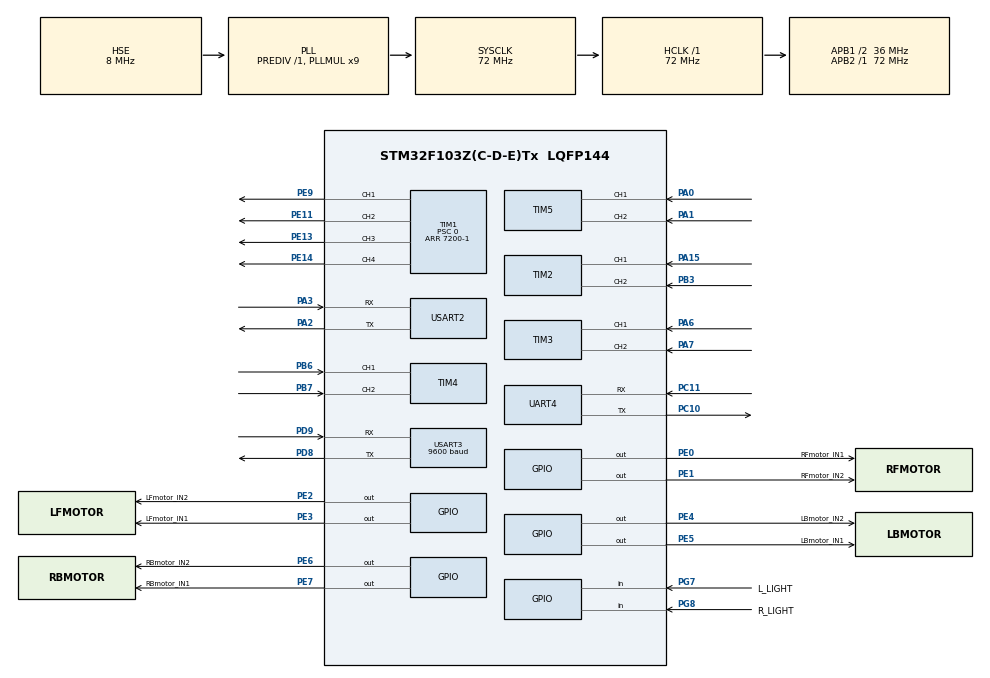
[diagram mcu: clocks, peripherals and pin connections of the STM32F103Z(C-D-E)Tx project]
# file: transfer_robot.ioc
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Mcu.Family=STM32F1
Mcu.Name=STM32F103Z(C-D-E)Tx
Mcu.Package=LQFP144
NVIC.PriorityGroup=NVIC_PRIORITYGROUP_4
NVIC.TIM2_IRQn=true\:1\:0\:true\:false\:true\:true\:true\:true
NVIC.TIM3_IRQn=true\:1\:0\:true\:false\:true\:true\:true\:true
NVIC.TIM4_IRQn=true\:1\:0\:true\:false\:true\:true\:true\:true
NVIC.TIM5_IRQn=true\:0\:0\:false\:false\:true\:true\:true\:true
NVIC.TIM6_IRQn=true\:0\:0\:true\:false\:true\:true\:true\:true
NVIC.UART4_IRQn=true\:0\:0\:false\:false\:true\:true\:true\:true
NVIC.USART2_IRQn=true\:0\:0\:false\:false\:true\:true\:true\:true
OSC_IN.Mode=HSE-External-Oscillator
OSC_IN.Signal=RCC_OSC_IN
OSC_OUT.Mode=HSE-External-Oscillator
OSC_OUT.Signal=RCC_OSC_OUT
PA0-WKUP.Signal=S_TIM5_CH1
PA1.Signal=S_TIM5_CH2
PA13.Mode=Serial_Wire
PA13.Signal=SYS_JTMS-SWDIO
PA14.Mode=Serial_Wire
PA14.Signal=SYS_JTCK-SWCLK
PA15.Signal=S_TIM2_CH1_ETR
PA2.Mode=Asynchronous
PA2.Signal=USART2_TX
PA3.Mode=Asynchronous
PA3.Signal=USART2_RX
PA6.Signal=S_TIM3_CH1
PA7.Signal=S_TIM3_CH2
PB3.Signal=S_TIM2_CH2
PB6.Signal=S_TIM4_CH1
PB7.Signal=S_TIM4_CH2
PC10.Mode=Asynchronous
PC10.Signal=UART4_TX
PC11.Mode=Asynchronous
PC11.Signal=UART4_RX
PC14-OSC32_IN.Mode=LSE-External-Oscillator
PC14-OSC32_IN.Signal=RCC_OSC32_IN
PC15-OSC32_OUT.Mode=LSE-External-Oscillator
PC15-OSC32_OUT.Signal=RCC_OSC32_OUT
PD8.Mode=Asynchronous
PD8.Signal=USART3_TX
PD9.Mode=Asynchronous
PD9.Signal=USART3_RX
PE0.GPIO_Label=RFmotor_IN1
PE0.Signal=GPIO_Output
PE1.GPIO_Label=RFmotor_IN2
PE1.Signal=GPIO_Output
PE11.Signal=S_TIM1_CH2
PE13.Signal=S_TIM1_CH3
PE14.Signal=S_TIM1_CH4
PE2.GPIO_Label=LFmotor_IN2
PE2.Signal=GPIO_Output
PE3.GPIO_Label=LFmotor_IN1
PE3.Signal=GPIO_Output
PE4.GPIO_Label=LBmotor_IN2
PE4.Signal=GPIO_Output
PE5.GPIO_Label=LBmotor_IN1
PE5.Signal=GPIO_Output
PE6.GPIO_Label=RBmotor_IN2
PE6.Signal=GPIO_Output
PE7.GPIO_Label=RBmotor_IN1
PE7.Signal=GPIO_Output
PE9.Signal=S_TIM1_CH1
PG7.GPIO_Label=L_LIGHT
PG7.Signal=GPIO_Input
PG8.GPIO_Label=R_LIGHT
PG8.Signal=GPIO_Input
ProjectManager.HeapSize=0x200
ProjectManager.StackSize=0x400
ProjectManager.TargetToolchain=MDK-ARM V5.32
RCC.AHBFreq_Value=72000000
RCC.APB1CLKDivider=RCC_HCLK_DIV2
RCC.APB1Freq_Value=36000000
RCC.APB1TimFreq_Value=72000000
RCC.APB2Freq_Value=72000000
RCC.APB2TimFreq_Value=72000000
RCC.HCLKFreq_Value=72000000
RCC.PLLMUL=RCC_PLL_MUL9
RCC.PLLSourceVirtual=RCC_PLLSOURCE_HSE
RCC.SYSCLKFreq_VALUE=72000000
RCC.SYSCLKSource=RCC_SYSCLKSOURCE_PLLCLK
RCC.USBFreq_Value=72000000
SH.S_TIM1_CH1.0=TIM1_CH1,PWM Generation1 CH1
SH.S_TIM1_CH2.0=TIM1_CH2,PWM Generation2 CH2
SH.S_TIM1_CH3.0=TIM1_CH3,PWM Generation3 CH3
SH.S_TIM1_CH4.0=TIM1_CH4,PWM Generation4 CH4
SH.S_TIM2_CH1_ETR.0=TIM2_CH1,Encoder_Interface
SH.S_TIM2_CH2.0=TIM2_CH2,Encoder_Interface
SH.S_TIM3_CH1.0=TIM3_CH1,Encoder_Interface
SH.S_TIM3_CH2.0=TIM3_CH2,Encoder_Interface
SH.S_TIM4_CH1.0=TIM4_CH1,Encoder_Interface
SH.S_TIM4_CH2.0=TIM4_CH2,Encoder_Interface
SH.S_TIM5_CH1.0=TIM5_CH1,Encoder_Interface
SH.S_TIM5_CH2.0=TIM5_CH2,Encoder_Interface
TIM1.AutoReloadPreload=TIM_AUTORELOAD_PRELOAD_ENABLE
TIM1.Channel-PWM\ Generation1\ CH1=TIM_CHANNEL_1
TIM1.Channel-PWM\ Generation2\ CH2=TIM_CHANNEL_2
TIM1.Channel-PWM\ Generation3\ CH3=TIM_CHANNEL_3
TIM1.Channel-PWM\ Generation4\ CH4=TIM_CHANNEL_4
TIM1.OCFastMode_PWM-PWM\ Generation1\ CH1=TIM_OCFAST_DISABLE
TIM1.OCFastMode_PWM-PWM\ Generation2\ CH2=TIM_OCFAST_DISABLE
TIM1.OCFastMode_PWM-PWM\ Generation3\ CH3=TIM_OCFAST_DISABLE
TIM1.OCFastMode_PWM-PWM\ Generation4\ CH4=TIM_OCFAST_DISABLE
TIM1.Period=7200-1
TIM1.Prescaler=0
TIM2.EncoderMode=TIM_ENCODERMODE_TI12
TIM6.AutoReloadPreload=TIM_AUTORELOAD_PRELOAD_ENABLE
TIM6.Period=100-1
TIM6.Prescaler=7200-1
UART4.VirtualMode=Asynchronous
USART2.VirtualMode=VM_ASYNC
USART3.BaudRate=9600
USART3.VirtualMode=VM_ASYNC
VP_RTC_VS_RTC_Activate.Mode=RTC_Enabled
VP_TIM1_VS_ClockSourceINT.Mode=Internal
VP_TIM6_VS_ClockSourceINT.Mode=Enable_Timer
board=custom

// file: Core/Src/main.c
/* USER CODE BEGIN Header */
/**
  ******************************************************************************
  * @file           : main.c
  * @brief          : Main program body
  ******************************************************************************
  * @attention
  *
  * Copyright (c) 2023 STMicroelectronics.
  * All rights reserved.
  *
  * This software is licensed under terms that can be found in the LICENSE file
  * in the root directory of this software component.
  * If no LICENSE file comes with this software, it is provided AS-IS.
  *
  ******************************************************************************
  */
/* USER CODE END Header */
#include "main.h"
#include "rtc.h"
#include "tim.h"
#include "usart.h"
#include "gpio.h"

/* USER CODE BEGIN Includes */
#include "motor.h"
#include "vofa.h"
#include "string.h"
#include "bsp_pid.h"
/* USER CODE END Includes */

/* USER CODE BEGIN PD */
float MotorSpeed1;  // 电机当前速度数值，从编码器中获取
float MotorSpeed2;  // 电机当前速度数值，从编码器中获取
float MotorSpeed3;  // 电机当前速度数值，从编码器中获取
float MotorSpeed4;  // 电机当前速度数值，从编码器中获取
int MotorOutput1;		  // 电机输出
int MotorOutput2;		  // 电机输出
int MotorOutput3;		  // 电机输出
int MotorOutput4;		  // 电机输出
/* USER CODE END PD */

void SystemClock_Config(void);
/* USER CODE BEGIN PFP */
extern _pid pid1,pid2,pid3,pid4,pidAs,pidBs,pid1,pid2;//pidx->速度PID量，pidxs->位置PID量
/* USER CODE END PFP */

int main(void)
{

  /* MCU Configuration--------------------------------------------------------*/

  /* Reset of all peripherals, Initializes the Flash interface and the Systick. */
  HAL_Init();

  /* Configure the system clock */
  SystemClock_Config();

  /* Initialize all configured peripherals */
  MX_GPIO_Init();
  MX_RTC_Init();
  MX_TIM1_Init();
  MX_TIM2_Init();
  MX_TIM3_Init();
  MX_TIM4_Init();
  MX_TIM5_Init();
  MX_UART4_Init();
  MX_USART3_UART_Init();
  MX_TIM6_Init();
  MX_USART2_UART_Init();

  /* Infinite loop */
  /* USER CODE BEGIN WHILE */
	HAL_TIM_PWM_Start(&htim1, TIM_CHANNEL_1);	    // TIM3_CH1(pwm)
	HAL_TIM_PWM_Start(&htim1, TIM_CHANNEL_2);	    // TIM3_CH2(pwm)
	HAL_TIM_PWM_Start(&htim1, TIM_CHANNEL_3);	    // TIM3_CH3(pwm)
	HAL_TIM_PWM_Start(&htim1, TIM_CHANNEL_4);	    // TIM3_CH4(pwm)

  HAL_TIM_Encoder_Start(&htim2, TIM_CHANNEL_1); // 开启编码器1A
  HAL_TIM_Encoder_Start(&htim2, TIM_CHANNEL_2); // 开启编码器1B

	HAL_TIM_Encoder_Start(&htim3, TIM_CHANNEL_1); // 开启编码器1A
  HAL_TIM_Encoder_Start(&htim3, TIM_CHANNEL_2); // 开启编码器1B

	HAL_TIM_Encoder_Start(&htim4, TIM_CHANNEL_1); // 开启编码器1A
  HAL_TIM_Encoder_Start(&htim4, TIM_CHANNEL_2); // 开启编码器1B

	HAL_TIM_Encoder_Start(&htim5, TIM_CHANNEL_1); // 开启编码器1A
  HAL_TIM_Encoder_Start(&htim5, TIM_CHANNEL_2); // 开启编码器1B

  HAL_TIM_Base_Start_IT(&htim6);                // 使能定时器2中断
	PID_param_init();
  while (1)
  {
		int a=0;
		int b=0;
		a=HAL_GPIO_ReadPin(GPIOG,GPIO_PIN_7);
		b=HAL_GPIO_ReadPin(GPIOG,GPIO_PIN_8);

		if(a==1 &&b ==0)
		{
			pid1.aim=4000;
			pid2.aim=-4000;
			pid3.aim=4000;
			pid4.aim=-4000;
		}
		else if(a==0&&b==1)
		{
			pid1.aim=-4000;
			pid2.aim=4000;
			pid3.aim=4000;
			pid4.aim=-4000;
		}
		else
		{
			pid1.aim=4000;
			pid2.aim=4000;
			pid3.aim=4000;
			pid4.aim=4000;
		}
		HAL_Delay(5);

    /* USER CODE END WHILE */

  }
}

void SystemClock_Config(void)
{
  RCC_OscInitTypeDef RCC_OscInitStruct = {0};
  RCC_ClkInitTypeDef RCC_ClkInitStruct = {0};
  RCC_PeriphCLKInitTypeDef PeriphClkInit = {0};

  /** Initializes the RCC Oscillators according to the specified parameters
  * in the RCC_OscInitTypeDef structure.
  */
  RCC_OscInitStruct.OscillatorType = RCC_OSCILLATORTYPE_LSI|RCC_OSCILLATORTYPE_HSE;
  RCC_OscInitStruct.HSEState = RCC_HSE_ON;
  RCC_OscInitStruct.HSEPredivValue = RCC_HSE_PREDIV_DIV1;
  RCC_OscInitStruct.HSIState = RCC_HSI_ON;
  RCC_OscInitStruct.LSIState = RCC_LSI_ON;
  RCC_OscInitStruct.PLL.PLLState = RCC_PLL_ON;
  RCC_OscInitStruct.PLL.PLLSource = RCC_PLLSOURCE_HSE;
  RCC_OscInitStruct.PLL.PLLMUL = RCC_PLL_MUL9;
  if (HAL_RCC_OscConfig(&RCC_OscInitStruct) != HAL_OK)
  {
    Error_Handler();
  }

  /** Initializes the CPU, AHB and APB buses clocks
  */
  RCC_ClkInitStruct.ClockType = RCC_CLOCKTYPE_HCLK|RCC_CLOCKTYPE_SYSCLK
                              |RCC_CLOCKTYPE_PCLK1|RCC_CLOCKTYPE_PCLK2;
  RCC_ClkInitStruct.SYSCLKSource = RCC_SYSCLKSOURCE_PLLCLK;
  RCC_ClkInitStruct.AHBCLKDivider = RCC_SYSCLK_DIV1;
  RCC_ClkInitStruct.APB1CLKDivider = RCC_HCLK_DIV2;
  RCC_ClkInitStruct.APB2CLKDivider = RCC_HCLK_DIV1;

  if (HAL_RCC_ClockConfig(&RCC_ClkInitStruct, FLASH_LATENCY_2) != HAL_OK)
  {
    Error_Handler();
  }
  PeriphClkInit.PeriphClockSelection = RCC_PERIPHCLK_RTC;
  PeriphClkInit.RTCClockSelection = RCC_RTCCLKSOURCE_LSI;
  if (HAL_RCCEx_PeriphCLKConfig(&PeriphClkInit) != HAL_OK)
  {
    Error_Handler();
  }
}

/* USER CODE BEGIN 4 */

int ctt=0;
void HAL_TIM_PeriodElapsedCallback(TIM_HandleTypeDef *htim)
{
    static unsigned char i = 0;
    if (htim == (&htim6))
    {
			ctt++;
        //1.获取电机速度
        pid1.now = (short)(__HAL_TIM_GET_COUNTER(&htim2)/18);
			  pid2.now = (short)(__HAL_TIM_GET_COUNTER(&htim3)/18);
				pid3.now = (short)(__HAL_TIM_GET_COUNTER(&htim4)/18);
			  pid4.now = (short)(__HAL_TIM_GET_COUNTER(&htim5)/18);
        // TIM4计数器获得电机脉冲，该电机在10ms采样的脉冲/18则为实际转速的rpm
        __HAL_TIM_SET_COUNTER(&htim6,0);  // 计数器清零

        //2.将占空比导入至电机控制函数
//        pid1.aim=4000; // 3600即为50%的占空比
//			  pid2.aim=4000; // 3600即为50%的占空比
//			  pid3.aim=4000; // 3600即为50%的占空比
//			  pid4.aim=4000; // 3600即为50%的占空比

				speed_pid_calculate(&pid1);
			  speed_pid_calculate(&pid2);
			  speed_pid_calculate(&pid3);
			  speed_pid_calculate(&pid4);

				motor1((int)pid1.out);
			  motor2((int)pid2.out);
			  motor3((int)pid3.out);
			  motor4((int)pid4.out);
    }
}
/* USER CODE END 4 */

void Error_Handler(void)
{
  __disable_irq();
  while (1)
  {
  }
}
